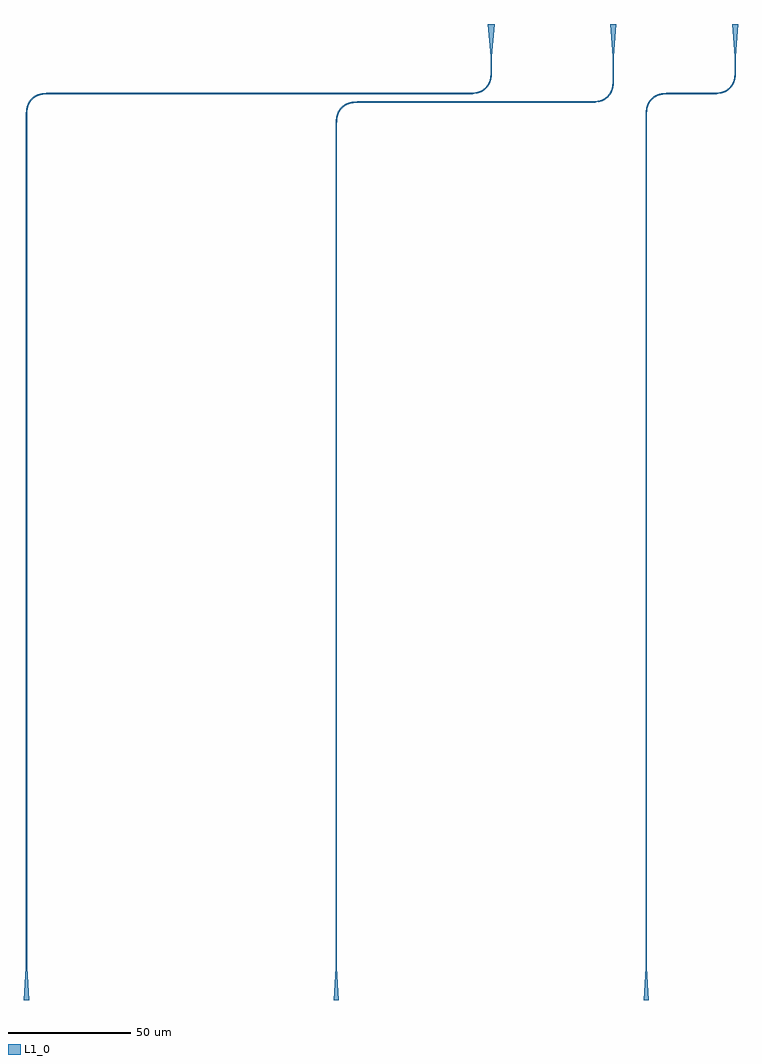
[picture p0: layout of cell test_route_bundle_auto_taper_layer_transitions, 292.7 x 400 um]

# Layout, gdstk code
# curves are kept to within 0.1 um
from math import pi, radians
import gdstk
lib = gdstk.Library(unit=1e-6, precision=1e-09)
def R(c, l, rs):  # rectangles x0, y0, x1, y1
    for r in rs: c.add(gdstk.rectangle(r[:2], r[2:], *l))
def P(c, l, *ps):  # polygons
    for p in ps: c.add(gdstk.Polygon(p, *l))
L1_0 = (1, 0)

taper_gdsfactorypcompone = lib.new_cell('taper_gdsfactorypcomponentsptapersptaper_L13p5_W2p7_W0p_380f8db8')
P(taper_gdsfactorypcompone, L1_0, [(0,-1.35),(0,1.35),(13.5,0.25),(13.5,-0.25)])

c_taper_gdsfactorypcompone = lib.new_cell('taper_gdsfactorypcomponentsptapersptaper_L13p5_W2p5_W0p_f1aa99f8')
P(c_taper_gdsfactorypcompone, L1_0, [(0,-1.25),(0,1.25),(13.5,0.25),(13.5,-0.25)])

c_taper_gdsfactorypcompone_ = lib.new_cell('taper_gdsfactorypcomponentsptapersptaper_L13p5_W2p30000_1325192e')
P(c_taper_gdsfactorypcompone_, L1_0, [(0,-1.15),(0,1.15),(13.5,0.25),(13.5,-0.25)])

c_taper_gdsfactorypcompone__ = lib.new_cell('taper_gdsfactorypcomponentsptapersptaper_L13p5_W2p1_W0p_51c08482')
P(c_taper_gdsfactorypcompone__, L1_0, [(0,-1.05),(0,1.05),(13.5,0.25),(13.5,-0.25)])

c_taper_gdsfactorypcompone___ = lib.new_cell('taper_gdsfactorypcomponentsptapersptaper_L13p5_W2_W0p5__b21f2ba9')
P(c_taper_gdsfactorypcompone___, L1_0, [(0,-1),(0,1),(13.5,0.25),(13.5,-0.25)])

c_taper_gdsfactorypcompone____ = lib.new_cell('taper_gdsfactorypcomponentsptapersptaper_L13p5_W1p90000_4faf192f')
P(c_taper_gdsfactorypcompone____, L1_0, [(0,-0.95),(0,0.95),(13.5,0.25),(13.5,-0.25)])

bend_euler_gdsfactorypco = lib.new_cell('bend_euler_gdsfactorypcomponentspbendspbend_euler_R10_A_335c8724')
P(bend_euler_gdsfactorypco, L1_0, [(0,-0.25),(0,0.25),(2.881,0.353),(3.952,0.52),(4.99,0.806),(6.431,1.505),(7.575,2.425),(8.495,3.569),(9.194,5.01),(9.48,6.048),(9.647,7.119),(9.75,10),(10.25,10),(10.158,7.205),(9.797,5.254),(9.457,4.312),(9.066,3.545),(8.5,2.715),(7.928,2.072),(7.285,1.5),(6.455,0.934),(5.688,0.543),(4.746,0.203),(2.795,-0.158)])

straight_gdsfactorypcomp = lib.new_cell('straight_gdsfactorypcomponentspwaveguidespstraight_L5_N_f5657628')
R(straight_gdsfactorypcomp, L1_0, [(0,-0.25,5,0.25)])

c_straight_gdsfactorypcomp = lib.new_cell('straight_gdsfactorypcomponentspwaveguidespstraight_L170_b68ddca7')
R(c_straight_gdsfactorypcomp, L1_0, [(0,-0.25,170.5,0.25)])

c_straight_gdsfactorypcomp_ = lib.new_cell('straight_gdsfactorypcomponentspwaveguidespstraight_L348_611aac32')
R(c_straight_gdsfactorypcomp_, L1_0, [(0,-0.25,348,0.25)])

c_straight_gdsfactorypcomp__ = lib.new_cell('straight_gdsfactorypcomponentspwaveguidespstraight_L8p5_29adfe89')
R(c_straight_gdsfactorypcomp__, L1_0, [(0,-0.25,8.5,0.25)])

c_straight_gdsfactorypcomp___ = lib.new_cell('straight_gdsfactorypcomponentspwaveguidespstraight_L93p_93da4bd5')
R(c_straight_gdsfactorypcomp___, L1_0, [(0,-0.25,93.5,0.25)])

c_straight_gdsfactorypcomp____ = lib.new_cell('straight_gdsfactorypcomponentspwaveguidespstraight_L344_8afcfdbf')
R(c_straight_gdsfactorypcomp____, L1_0, [(0,-0.25,344.5,0.25)])

c_straight_gdsfactorypcomp_____ = lib.new_cell('straight_gdsfactorypcomponentspwaveguidespstraight_L16p_57f51bfc')
R(c_straight_gdsfactorypcomp_____, L1_0, [(0,-0.25,16.5,0.25)])

test_route_bundle_auto_t = lib.new_cell('test_route_bundle_auto_taper_layer_transitions')
test_route_bundle_auto_t.add(gdstk.Reference(taper_gdsfactorypcompone, (0,0), rotation=3*pi/2))
test_route_bundle_auto_t.add(gdstk.Reference(c_taper_gdsfactorypcompone, (50,0), rotation=3*pi/2))
test_route_bundle_auto_t.add(gdstk.Reference(c_taper_gdsfactorypcompone_, (100,0), rotation=3*pi/2))
test_route_bundle_auto_t.add(gdstk.Reference(c_taper_gdsfactorypcompone__, (-190.5,-400), rotation=pi/2))
test_route_bundle_auto_t.add(gdstk.Reference(c_taper_gdsfactorypcompone___, (-63.5,-400), rotation=pi/2))
test_route_bundle_auto_t.add(gdstk.Reference(c_taper_gdsfactorypcompone____, (63.5,-400), rotation=pi/2))
test_route_bundle_auto_t.add(gdstk.Reference(bend_euler_gdsfactorypco, (-10,-28.5)))
test_route_bundle_auto_t.add(gdstk.Reference(straight_gdsfactorypcomp, (0,-13.5), rotation=3*pi/2))
test_route_bundle_auto_t.add(gdstk.Reference(bend_euler_gdsfactorypco, (-190.5,-38.5), rotation=pi/2, x_reflection=True))
test_route_bundle_auto_t.add(gdstk.Reference(c_straight_gdsfactorypcomp, (-10,-28.5), rotation=pi))
test_route_bundle_auto_t.add(gdstk.Reference(c_straight_gdsfactorypcomp_, (-190.5,-38.5), rotation=3*pi/2))
test_route_bundle_auto_t.add(gdstk.Reference(bend_euler_gdsfactorypco, (40,-32)))
test_route_bundle_auto_t.add(gdstk.Reference(c_straight_gdsfactorypcomp__, (50,-13.5), rotation=3*pi/2))
test_route_bundle_auto_t.add(gdstk.Reference(bend_euler_gdsfactorypco, (-63.5,-42), rotation=pi/2, x_reflection=True))
test_route_bundle_auto_t.add(gdstk.Reference(c_straight_gdsfactorypcomp___, (40,-32), rotation=pi))
test_route_bundle_auto_t.add(gdstk.Reference(c_straight_gdsfactorypcomp____, (-63.5,-42), rotation=3*pi/2))
test_route_bundle_auto_t.add(gdstk.Reference(bend_euler_gdsfactorypco, (90,-28.5)))
test_route_bundle_auto_t.add(gdstk.Reference(straight_gdsfactorypcomp, (100,-13.5), rotation=3*pi/2))
test_route_bundle_auto_t.add(gdstk.Reference(bend_euler_gdsfactorypco, (63.5,-38.5), rotation=pi/2, x_reflection=True))
test_route_bundle_auto_t.add(gdstk.Reference(c_straight_gdsfactorypcomp_____, (90,-28.5), rotation=pi))
test_route_bundle_auto_t.add(gdstk.Reference(c_straight_gdsfactorypcomp_, (63.5,-38.5), rotation=3*pi/2))

lib.write_gds('test_route_bundle_auto_taper_layer_transitions.gds')
